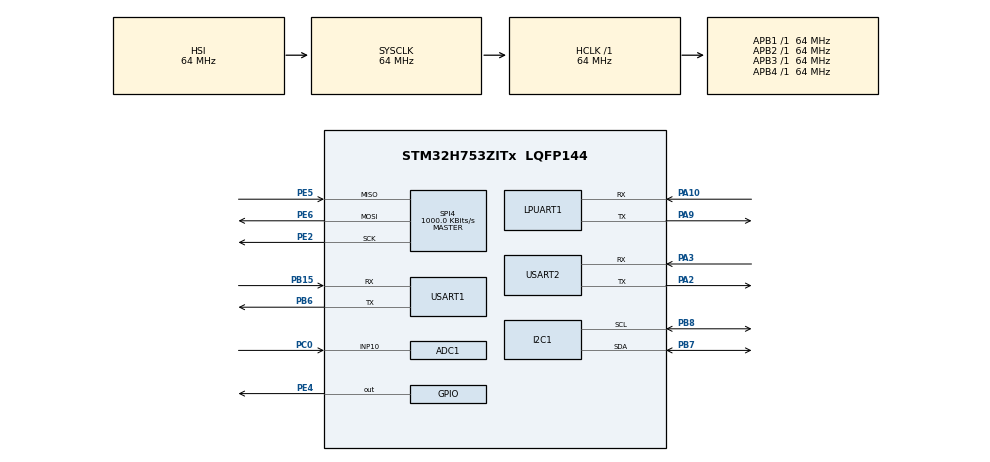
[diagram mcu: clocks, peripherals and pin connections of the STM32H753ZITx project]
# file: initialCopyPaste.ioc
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ADC1.Channel-1\#ChannelRegularConversion=ADC_CHANNEL_10
ADC1.ContinuousConvMode=ENABLE
ADC1.ConversionDataManagement=ADC_CONVERSIONDATA_DMA_CIRCULAR
ADC1.NbrOfConversion=1
ADC1.NbrOfConversionFlag=1
ADC1.OffsetNumber-1\#ChannelRegularConversion=ADC_OFFSET_NONE
ADC1.OffsetSignedSaturation-1\#ChannelRegularConversion=DISABLE
ADC1.Rank-1\#ChannelRegularConversion=1
ADC1.SamplingTime-1\#ChannelRegularConversion=ADC_SAMPLETIME_1CYCLE_5
ADC1.master=1
CORTEX_M7.CPU_DCache=Disabled
CORTEX_M7.CPU_ICache=Disabled
CORTEX_M7.MPU_Control=MPU_PRIVILEGED_DEFAULT
CORTEX_M7.default_mode_Activation=1
Dma.ADC1.0.Direction=DMA_PERIPH_TO_MEMORY
Dma.ADC1.0.EventEnable=DISABLE
Dma.ADC1.0.FIFOMode=DMA_FIFOMODE_DISABLE
Dma.ADC1.0.Instance=DMA2_Stream0
Dma.ADC1.0.MemDataAlignment=DMA_MDATAALIGN_HALFWORD
Dma.ADC1.0.MemInc=DMA_MINC_ENABLE
Dma.ADC1.0.Mode=DMA_CIRCULAR
Dma.ADC1.0.PeriphDataAlignment=DMA_PDATAALIGN_HALFWORD
Dma.ADC1.0.PeriphInc=DMA_PINC_DISABLE
Dma.ADC1.0.Polarity=HAL_DMAMUX_REQ_GEN_RISING
Dma.ADC1.0.Priority=DMA_PRIORITY_MEDIUM
Dma.ADC1.0.RequestNumber=1
Dma.ADC1.0.SignalID=NONE
Dma.ADC1.0.SyncEnable=DISABLE
Dma.ADC1.0.SyncPolarity=HAL_DMAMUX_SYNC_NO_EVENT
Dma.ADC1.0.SyncRequestNumber=1
Dma.ADC1.0.SyncSignalID=NONE
Dma.Request0=ADC1
Dma.Request1=USART1_TX
Dma.USART1_TX.1.Direction=DMA_MEMORY_TO_PERIPH
Dma.USART1_TX.1.EventEnable=DISABLE
Dma.USART1_TX.1.FIFOMode=DMA_FIFOMODE_DISABLE
Dma.USART1_TX.1.Instance=DMA1_Stream1
Dma.USART1_TX.1.MemDataAlignment=DMA_MDATAALIGN_BYTE
Dma.USART1_TX.1.MemInc=DMA_MINC_ENABLE
Dma.USART1_TX.1.Mode=DMA_NORMAL
Dma.USART1_TX.1.PeriphDataAlignment=DMA_PDATAALIGN_BYTE
Dma.USART1_TX.1.PeriphInc=DMA_PINC_DISABLE
Dma.USART1_TX.1.Polarity=HAL_DMAMUX_REQ_GEN_RISING
Dma.USART1_TX.1.Priority=DMA_PRIORITY_LOW
Dma.USART1_TX.1.RequestNumber=1
Dma.USART1_TX.1.SignalID=NONE
Dma.USART1_TX.1.SyncEnable=DISABLE
Dma.USART1_TX.1.SyncPolarity=HAL_DMAMUX_SYNC_NO_EVENT
Dma.USART1_TX.1.SyncRequestNumber=1
Dma.USART1_TX.1.SyncSignalID=NONE
Mcu.Family=STM32H7
Mcu.Name=STM32H753ZITx
Mcu.Package=LQFP144
NUCLEO-H753ZI.BUTTON=1
NUCLEO-H753ZI.Bsp_Common_DEMO=true
NUCLEO-H753ZI.LD1=true
NUCLEO-H753ZI.LD2=true
NUCLEO-H753ZI.LD3=true
NUCLEO-H753ZI.VCP=true
NVIC.DMA1_Stream1_IRQn=true\:0\:0\:false\:false\:true\:false\:true\:true
NVIC.DMA2_Stream0_IRQn=true\:0\:0\:false\:false\:true\:false\:true\:true
NVIC.EXTI15_10_IRQn=true\:0\:0\:false\:false\:true\:false\:true\:true
NVIC.PriorityGroup=NVIC_PRIORITYGROUP_4
PA0.Signal=USART2_CTS
PA1.Signal=USART2_RTS
PA10.Mode=Asynchronous
PA10.Signal=LPUART1_RX
PA2.Mode=Asynchronous
PA2.Signal=USART2_TX
PA3.Mode=Asynchronous
PA3.Signal=USART2_RX
PA9.Mode=Asynchronous
PA9.Signal=LPUART1_TX
PB15.Mode=Asynchronous
PB15.Signal=USART1_RX
PB5.Signal=I2C1_SMBA
PB6.Mode=Asynchronous
PB6.Signal=USART1_TX
PB7.Mode=I2C
PB7.Signal=I2C1_SDA
PB8.Mode=I2C
PB8.Signal=I2C1_SCL
PC0.Signal=ADCx_INP10
PC14-OSC32_IN\ (OSC32_IN).Mode=LSE-External-Oscillator
PC14-OSC32_IN\ (OSC32_IN).Signal=RCC_OSC32_IN
PC15-OSC32_OUT\ (OSC32_OUT).Mode=LSE-External-Oscillator
PC15-OSC32_OUT\ (OSC32_OUT).Signal=RCC_OSC32_OUT
PD8.Signal=USART3_TX
PD9.Signal=USART3_RX
PE2.Mode=Full_Duplex_Master
PE2.Signal=SPI4_SCK
PE4.Signal=GPIO_Output
PE5.Mode=Full_Duplex_Master
PE5.Signal=SPI4_MISO
PE6.Mode=Full_Duplex_Master
PE6.Signal=SPI4_MOSI
PH0-OSC_IN\ (PH0).Mode=HSE-External-Oscillator
PH0-OSC_IN\ (PH0).Signal=RCC_OSC_IN
PH1-OSC_OUT\ (PH1).Mode=HSE-External-Oscillator
PH1-OSC_OUT\ (PH1).Signal=RCC_OSC_OUT
ProjectManager.HeapSize=0x200
ProjectManager.StackSize=0x400
ProjectManager.TargetToolchain=CMake
RCC.ADCFreq_Value=80000000
RCC.APB1Freq_Value=64000000
RCC.APB2Freq_Value=64000000
RCC.APB3Freq_Value=64000000
RCC.APB4Freq_Value=64000000
RCC.CortexFreq_Value=64000000
RCC.DIVM1=4
RCC.DIVM2=4
RCC.DIVN1=9
RCC.DIVN2=10
RCC.DIVQ1=1
RCC.HCLKFreq_Value=64000000
RCC.HSE_VALUE=8000000
RCC.PLL2FRACN=0
RCC.PLLFRACN=3072
RCC.PWR_Regulator_Voltage_Scale=PWR_REGULATOR_VOLTAGE_SCALE2
RCC.SYSCLKFreq_VALUE=64000000
RCC.USBFreq_Value=150000000
SH.ADCx_INP10.0=ADC1_INP10,IN10-Single-Ended
SPI4.BaudRatePrescaler=SPI_BAUDRATEPRESCALER_64
SPI4.CalculateBaudRate=1000.0 KBits/s
SPI4.DataSize=SPI_DATASIZE_8BIT
SPI4.Direction=SPI_DIRECTION_2LINES
SPI4.Mode=SPI_MODE_MASTER
SPI4.VirtualType=VM_MASTER
USART1.VirtualMode-Asynchronous=VM_ASYNC
USART2.VirtualMode-Asynchronous=VM_ASYNC
VP_MEMORYMAP_VS_MEMORYMAP.Mode=CurAppReg
VP_NUCLEO-H753ZI_VS_BSP_COMMON.Mode=COMMON
board=NUCLEO-H753ZI

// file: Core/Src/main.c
/* USER CODE BEGIN Header */
/**
 ******************************************************************************
 * @file           : main.c
 * @brief          : Main program body
 ******************************************************************************
 * @attention
 *
 * Copyright (c) 2026 STMicroelectronics.
 * All rights reserved.
 *
 * This software is licensed under terms that can be found in the LICENSE file
 * in the root directory of this software component.
 * If no LICENSE file comes with this software, it is provided AS-IS.
 *
 ******************************************************************************
 */
/* USER CODE END Header */
#include "main.h"

/* USER CODE BEGIN Includes */
#include <inttypes.h>
#include <stdio.h>
#include <string.h>

char msg[] = "ahhhhhhh filled up bufffer\r\n";
/* USER CODE END Includes */

/* USER CODE BEGIN PD */
#define ADC_BUF_LEN 4096
/* USER CODE END PD */

COM_InitTypeDef BspCOMInit;
__IO uint32_t BspButtonState = BUTTON_RELEASED;
ADC_HandleTypeDef hadc1;
DMA_HandleTypeDef hdma_adc1;

I2C_HandleTypeDef hi2c1;

UART_HandleTypeDef hlpuart1;
UART_HandleTypeDef huart1;
UART_HandleTypeDef huart2;
DMA_HandleTypeDef hdma_usart1_tx;

SPI_HandleTypeDef hspi4;

/* USER CODE BEGIN PV */
uint16_t adc_buf[ADC_BUF_LEN];

// mt25q
const uint8_t MT25_READ = 0x13;
const uint8_t MT25_WRITE = 0x12;
const uint8_t MT25_WRITE_DISABLE = 0x04;
const uint8_t MT25_WRITE_ENABLE = 0x06;
const uint8_t MT25_READ_STATUS_REGISTER = 0x05;
const uint8_t MT25_WROTE_STATUS_REGISTER = 0x01;

/* USER CODE END PV */

void SystemClock_Config(void);
static void MPU_Config(void);
static void MX_GPIO_Init(void);
static void MX_DMA_Init(void);
static void MX_I2C1_Init(void);
static void MX_LPUART1_UART_Init(void);
static void MX_USART2_UART_Init(void);
static void MX_ADC1_Init(void);
static void MX_SPI4_Init(void);
static void MX_USART1_UART_Init(void);
/* USER CODE BEGIN PFP */
void DMATransferComplete(DMA_HandleTypeDef *dma);
/* USER CODE END PFP */

int main(void) {

  /* MPU Configuration--------------------------------------------------------*/
  MPU_Config();

  /* MCU Configuration--------------------------------------------------------*/

  /* Reset of all peripherals, Initializes the Flash interface and the Systick.
   */
  HAL_Init();

  /* Configure the system clock */
  SystemClock_Config();

  /* Initialize all configured peripherals */
  MX_GPIO_Init();
  MX_DMA_Init();
  MX_I2C1_Init();
  MX_LPUART1_UART_Init();
  MX_USART2_UART_Init();
  MX_ADC1_Init();
  MX_SPI4_Init();
  MX_USART1_UART_Init();
  /* USER CODE BEGIN 2 */

  //   HAL_DMA_RegisterCallback(&hdma_usart2_tx, HAL_DMA_XFER_CPLT_CB_ID,
  //                            &DMATransferComplete);
  HAL_ADC_Start_DMA(&hadc1, (uint32_t *)adc_buf, ADC_BUF_LEN);

  /* USER CODE END 2 */

  /* Initialize leds */
  BSP_LED_Init(LED_GREEN);
  BSP_LED_Init(LED_YELLOW);
  BSP_LED_Init(LED_RED);

  /* Initialize USER push-button, will be used to trigger an interrupt each time
   * it's pressed.*/
  BSP_PB_Init(BUTTON_USER, BUTTON_MODE_EXTI);

  /* Initialize COM1 port (115200, 8 bits (7-bit data + 1 stop bit), no parity
   */
  BspCOMInit.BaudRate = 115200;
  BspCOMInit.WordLength = COM_WORDLENGTH_8B;
  BspCOMInit.StopBits = COM_STOPBITS_1;
  BspCOMInit.Parity = COM_PARITY_NONE;
  BspCOMInit.HwFlowCtl = COM_HWCONTROL_NONE;
  if (BSP_COM_Init(COM1, &BspCOMInit) != BSP_ERROR_NONE) {
    Error_Handler();
  }

  /* USER CODE BEGIN BSP */

  HAL_GPIO_WritePin(GPIOE, GPIO_PIN_4, GPIO_PIN_SET);
  /* -- Sample board code to send message over COM1 port ---- */
  printf("Welcome to STM32 world !\r\n");

  /* -- Sample board code to switch on leds ---- */
  BSP_LED_On(LED_GREEN);
  BSP_LED_On(LED_YELLOW);
  BSP_LED_On(LED_RED);

  /* USER CODE END BSP */

  /* Infinite loop */
  /* USER CODE BEGIN WHILE */

  // To implement
  //   int8_t spi_status;
  uint8_t buf[64];
  char spi_buf[64];
  HAL_GPIO_WritePin(GPIOE, GPIO_PIN_4, GPIO_PIN_RESET);
  HAL_SPI_Transmit(&hspi4, (uint8_t *)&MT25_WRITE_ENABLE, 1, 1000);
  HAL_GPIO_WritePin(GPIOE, GPIO_PIN_4, GPIO_PIN_SET);

  HAL_GPIO_WritePin(GPIOE, GPIO_PIN_4, GPIO_PIN_RESET);
  // renode seems to get upset when using multiple transmits after another
  // which is why more things are bunched together into one liners
  // HAL_SPI_Transmit(&hspi4, (uint8_t *)&MT25_READ_STATUS_REGISTER, 1, 1000);
  // HAL_SPI_Receive(&hspi4, (uint8_t *)spi_buf, 1, 1000);
  HAL_SPI_TransmitReceive(&hspi4, (uint8_t *)&MT25_READ_STATUS_REGISTER,
                          (uint8_t *)spi_buf, 2, 1000);
  HAL_GPIO_WritePin(GPIOE, GPIO_PIN_4, GPIO_PIN_SET);
  sprintf((char *)buf, "spi status 0x%x\r\n", (unsigned int)spi_buf[1]);
  HAL_UART_Transmit(&huart2, buf, strlen((char *)buf), HAL_MAX_DELAY);

  // strcpy((char *)buf, "Hello!\r\n");

  //   uint8_t addr[4] = {0x00, 0x00, 0x00, 0x05};
  uint8_t wip = 1;
  spi_buf[5] = 0xAB;
  spi_buf[6] = 0xCD;
  spi_buf[7] = 0xEF;

  sprintf((char *)buf, "spibuf before example 0x%x 0x%x 0x%x\r\n",
          (unsigned int)spi_buf[5], (unsigned int)spi_buf[6],
          (unsigned int)spi_buf[7]);
  HAL_UART_Transmit(&huart2, buf, strlen((char *)buf), HAL_MAX_DELAY);

  HAL_GPIO_WritePin(GPIOE, GPIO_PIN_4, GPIO_PIN_RESET);
  //   HAL_SPI_Transmit(&hspi4, (uint8_t *)&MT25_WRITE, 1, 1000);
  //   HAL_SPI_Transmit(&hspi4, (uint8_t *)addr, 4, 1000);
  //   HAL_SPI_Transmit(&hspi4, (uint8_t *)spi_buf, 3, 1000);
  uint8_t write_message[] = {MT25_WRITE, 0x00,       0x00,       0x00,
                             0x05,       spi_buf[5], spi_buf[6], spi_buf[7]};
  HAL_SPI_Transmit(&hspi4, write_message, 8, 1000);
  HAL_GPIO_WritePin(GPIOE, GPIO_PIN_4, GPIO_PIN_SET);

  spi_buf[5] = 0x00;
  spi_buf[6] = 0x00;
  spi_buf[7] = 0x00;

  sprintf((char *)buf, "spibuf cleared 0x%x 0x%x 0x%x\r\n",
          (unsigned int)spi_buf[5], (unsigned int)spi_buf[6],
          (unsigned int)spi_buf[7]);
  HAL_UART_Transmit(&huart2, buf, strlen((char *)buf), HAL_MAX_DELAY);

  while (wip) {
    HAL_GPIO_WritePin(GPIOE, GPIO_PIN_4, GPIO_PIN_RESET);
    // HAL_SPI_Transmit(&hspi4, (uint8_t *)&MT25_READ_STATUS_REGISTER, 1, 1000);
    // HAL_SPI_Receive(&hspi4, (uint8_t *)spi_buf, 1, 1000);
    HAL_SPI_TransmitReceive(&hspi4, (uint8_t *)&MT25_READ_STATUS_REGISTER,
                            (uint8_t *)spi_buf, 2, 1000);
    HAL_GPIO_WritePin(GPIOE, GPIO_PIN_4, GPIO_PIN_SET);

    wip = spi_buf[1] & 0x01;
  }

  HAL_GPIO_WritePin(GPIOE, GPIO_PIN_4, GPIO_PIN_RESET);
  //   HAL_SPI_Transmit(&hspi4, (uint8_t *)&MT25_READ, 1, 1000);
  //   HAL_SPI_Transmit(&hspi4, (uint8_t *)addr, 4, 1000);
  //   HAL_SPI_Receive(&hspi4, (uint8_t *)spi_buf, 3, 1000);
  uint8_t read_message[] = {MT25_READ, 0x00, 0x00, 0x00, 0x05};
  HAL_SPI_TransmitReceive(&hspi4, read_message, (uint8_t *)spi_buf, 8, 1000);
  HAL_GPIO_WritePin(GPIOE, GPIO_PIN_4, GPIO_PIN_SET);
  sprintf((char *)buf, "spibuf after example 0x%x 0x%x 0x%x\r\n",
          (unsigned int)spi_buf[5], (unsigned int)spi_buf[6],
          (unsigned int)spi_buf[7]);
  HAL_UART_Transmit(&huart2, buf, strlen((char *)buf), HAL_MAX_DELAY);

  HAL_GPIO_WritePin(GPIOE, GPIO_PIN_4, GPIO_PIN_RESET);
  //   HAL_SPI_Transmit(&hspi4, (uint8_t *)&MT25_READ_STATUS_REGISTER, 1, 1000);
  //   HAL_SPI_Receive(&hspi4, (uint8_t *)spi_buf, 1, 1000);
  HAL_SPI_TransmitReceive(&hspi4, (uint8_t *)&MT25_READ_STATUS_REGISTER,
                          (uint8_t *)spi_buf, 2, 1000);
  HAL_GPIO_WritePin(GPIOE, GPIO_PIN_4, GPIO_PIN_SET);
  sprintf((char *)buf, "spi clear status 0x%x\r\n", spi_buf[1]);
  HAL_UART_Transmit(&huart2, buf, strlen((char *)buf), HAL_MAX_DELAY);

  static const uint8_t TMP103_ADDR = 0x70 << 1;
  static const uint8_t TEMP_REG = 0x00;
  // HAL_StatusTypeDef ret_status;
  // int16_t ret_val;

  while (1) {
    buf[0] = TEMP_REG;

    huart2.Instance->CR3 |= USART_CR3_DMAT;

    // PROBABLY CHECK STATUS v
    if (HAL_I2C_Mem_Read(&hi2c1, TMP103_ADDR, TEMP_REG, I2C_MEMADD_SIZE_8BIT,
                         buf, 1, 1000) != HAL_OK) {
      strcpy((char *)buf, "Error Tx\r\n");
      HAL_UART_Transmit(&huart2, buf, strlen((char *)buf), HAL_MAX_DELAY);
      continue;
    } else {
      int8_t ret_val;
      ret_val = (int8_t)buf[0];
      //   HAL_UART_Transmit(&huart2, buf, strlen((char *)buf), HAL_MAX_DELAY);
      sprintf((char *)buf, "%i C\r\n", ret_val);
      HAL_UART_Transmit(&huart2, buf, strlen((char *)buf), HAL_MAX_DELAY);
    }

    /* -- Sample board code for User push-button in interrupt mode ---- */
    if (BspButtonState == BUTTON_PRESSED) {
      /* Update button state */
      BspButtonState = BUTTON_RELEASED;
      /* -- Sample board code to toggle leds ---- */
      BSP_LED_Toggle(LED_GREEN);
      BSP_LED_Toggle(LED_YELLOW);
      BSP_LED_Toggle(LED_RED);

      /* ..... Perform your action ..... */
    }

    // HAL_GPIO_WritePin(GPIOC, GPIO_PIN_0, GPIO_PIN_SET);
    // HAL_ADC_Start(&hadc1);
    // HAL_ADC_PollForConversion(&hadc1, HAL_MAX_DELAY);
    // int32_t raw = HAL_ADC_GetValue(&hadc1);
    // HAL_GPIO_WritePin(GPIOC, GPIO_PIN_0, GPIO_PIN_RESET);
    uint16_t raw = adc_buf[0];
    // sprintf((char *)buf, "%" PRIu16 " V\r\n", raw);
    uint32_t convert = ((uint32_t)raw * 3300) / 65536;
    sprintf((char *)buf,
            "%" PRIu32 "."
            "%03" PRIu32 " V\r\n",
            convert / 1000, convert % 1000);
    HAL_UART_Transmit(&huart2, buf, strlen((char *)buf), HAL_MAX_DELAY);

    /* USER CODE END WHILE */

    /* USER CODE BEGIN 3 */
    HAL_Delay(6700);
  }
  /* USER CODE END 3 */
}

void SystemClock_Config(void) {
  RCC_OscInitTypeDef RCC_OscInitStruct = {0};
  RCC_ClkInitTypeDef RCC_ClkInitStruct = {0};

  /** Supply configuration update enable
   */
  HAL_PWREx_ConfigSupply(PWR_LDO_SUPPLY);

  /** Configure the main internal regulator output voltage
   */
  __HAL_PWR_VOLTAGESCALING_CONFIG(PWR_REGULATOR_VOLTAGE_SCALE2);

  while (!__HAL_PWR_GET_FLAG(PWR_FLAG_VOSRDY)) {
  }

  /** Macro to configure the PLL clock source
   */
  __HAL_RCC_PLL_PLLSOURCE_CONFIG(RCC_PLLSOURCE_HSI);

  /** Initializes the RCC Oscillators according to the specified parameters
   * in the RCC_OscInitTypeDef structure.
   */
  RCC_OscInitStruct.OscillatorType = RCC_OSCILLATORTYPE_HSI;
  RCC_OscInitStruct.HSIState = RCC_HSI_DIV1;
  RCC_OscInitStruct.HSICalibrationValue = RCC_HSICALIBRATION_DEFAULT;
  RCC_OscInitStruct.PLL.PLLState = RCC_PLL_NONE;
  if (HAL_RCC_OscConfig(&RCC_OscInitStruct) != HAL_OK) {
    Error_Handler();
  }

  /** Initializes the CPU, AHB and APB buses clocks
   */
  RCC_ClkInitStruct.ClockType = RCC_CLOCKTYPE_HCLK | RCC_CLOCKTYPE_SYSCLK |
                                RCC_CLOCKTYPE_PCLK1 | RCC_CLOCKTYPE_PCLK2 |
                                RCC_CLOCKTYPE_D3PCLK1 | RCC_CLOCKTYPE_D1PCLK1;
  RCC_ClkInitStruct.SYSCLKSource = RCC_SYSCLKSOURCE_HSI;
  RCC_ClkInitStruct.SYSCLKDivider = RCC_SYSCLK_DIV1;
  RCC_ClkInitStruct.AHBCLKDivider = RCC_HCLK_DIV1;
  RCC_ClkInitStruct.APB3CLKDivider = RCC_APB3_DIV1;
  RCC_ClkInitStruct.APB1CLKDivider = RCC_APB1_DIV1;
  RCC_ClkInitStruct.APB2CLKDivider = RCC_APB2_DIV1;
  RCC_ClkInitStruct.APB4CLKDivider = RCC_APB4_DIV1;

  if (HAL_RCC_ClockConfig(&RCC_ClkInitStruct, FLASH_LATENCY_1) != HAL_OK) {
    Error_Handler();
  }
}

static void MX_ADC1_Init(void) {

  ADC_MultiModeTypeDef multimode = {0};
  ADC_ChannelConfTypeDef sConfig = {0};

  /** Common config
   */
  hadc1.Instance = ADC1;
  hadc1.Init.ClockPrescaler = ADC_CLOCK_ASYNC_DIV2;
  hadc1.Init.Resolution = ADC_RESOLUTION_16B;
  hadc1.Init.ScanConvMode = ADC_SCAN_DISABLE;
  hadc1.Init.EOCSelection = ADC_EOC_SINGLE_CONV;
  hadc1.Init.LowPowerAutoWait = DISABLE;
  hadc1.Init.ContinuousConvMode = ENABLE;
  hadc1.Init.NbrOfConversion = 1;
  hadc1.Init.DiscontinuousConvMode = DISABLE;
  hadc1.Init.ExternalTrigConv = ADC_SOFTWARE_START;
  hadc1.Init.ExternalTrigConvEdge = ADC_EXTERNALTRIGCONVEDGE_NONE;
  hadc1.Init.ConversionDataManagement = ADC_CONVERSIONDATA_DMA_CIRCULAR;
  hadc1.Init.Overrun = ADC_OVR_DATA_PRESERVED;
  hadc1.Init.LeftBitShift = ADC_LEFTBITSHIFT_NONE;
  hadc1.Init.OversamplingMode = DISABLE;
  hadc1.Init.Oversampling.Ratio = 1;
  if (HAL_ADC_Init(&hadc1) != HAL_OK) {
    Error_Handler();
  }

  /** Configure the ADC multi-mode
   */
  multimode.Mode = ADC_MODE_INDEPENDENT;
  if (HAL_ADCEx_MultiModeConfigChannel(&hadc1, &multimode) != HAL_OK) {
    Error_Handler();
  }

  /** Configure Regular Channel
   */
  sConfig.Channel = ADC_CHANNEL_10;
  sConfig.Rank = ADC_REGULAR_RANK_1;
  sConfig.SamplingTime = ADC_SAMPLETIME_1CYCLE_5;
  sConfig.SingleDiff = ADC_SINGLE_ENDED;
  sConfig.OffsetNumber = ADC_OFFSET_NONE;
  sConfig.Offset = 0;
  sConfig.OffsetSignedSaturation = DISABLE;
  if (HAL_ADC_ConfigChannel(&hadc1, &sConfig) != HAL_OK) {
    Error_Handler();
  }
}

static void MX_I2C1_Init(void) {

  hi2c1.Instance = I2C1;
  hi2c1.Init.Timing = 0x10707DBC;
  hi2c1.Init.OwnAddress1 = 0;
  hi2c1.Init.AddressingMode = I2C_ADDRESSINGMODE_7BIT;
  hi2c1.Init.DualAddressMode = I2C_DUALADDRESS_DISABLE;
  hi2c1.Init.OwnAddress2 = 0;
  hi2c1.Init.OwnAddress2Masks = I2C_OA2_NOMASK;
  hi2c1.Init.GeneralCallMode = I2C_GENERALCALL_DISABLE;
  hi2c1.Init.NoStretchMode = I2C_NOSTRETCH_DISABLE;
  if (HAL_I2C_Init(&hi2c1) != HAL_OK) {
    Error_Handler();
  }

  /** Configure Analogue filter
   */
  if (HAL_I2CEx_ConfigAnalogFilter(&hi2c1, I2C_ANALOGFILTER_ENABLE) != HAL_OK) {
    Error_Handler();
  }

  /** Configure Digital filter
   */
  if (HAL_I2CEx_ConfigDigitalFilter(&hi2c1, 0) != HAL_OK) {
    Error_Handler();
  }
}

static void MX_LPUART1_UART_Init(void) {

  hlpuart1.Instance = LPUART1;
  hlpuart1.Init.BaudRate = 209700;
  hlpuart1.Init.WordLength = UART_WORDLENGTH_8B;
  hlpuart1.Init.StopBits = UART_STOPBITS_1;
  hlpuart1.Init.Parity = UART_PARITY_NONE;
  hlpuart1.Init.Mode = UART_MODE_TX_RX;
  hlpuart1.Init.HwFlowCtl = UART_HWCONTROL_NONE;
  hlpuart1.Init.OneBitSampling = UART_ONE_BIT_SAMPLE_DISABLE;
  hlpuart1.Init.ClockPrescaler = UART_PRESCALER_DIV1;
  hlpuart1.AdvancedInit.AdvFeatureInit = UART_ADVFEATURE_NO_INIT;
  hlpuart1.FifoMode = UART_FIFOMODE_DISABLE;
  if (HAL_UART_Init(&hlpuart1) != HAL_OK) {
    Error_Handler();
  }
  if (HAL_UARTEx_SetTxFifoThreshold(&hlpuart1, UART_TXFIFO_THRESHOLD_1_8) !=
      HAL_OK) {
    Error_Handler();
  }
  if (HAL_UARTEx_SetRxFifoThreshold(&hlpuart1, UART_RXFIFO_THRESHOLD_1_8) !=
      HAL_OK) {
    Error_Handler();
  }
  if (HAL_UARTEx_DisableFifoMode(&hlpuart1) != HAL_OK) {
    Error_Handler();
  }
}

static void MX_USART1_UART_Init(void) {

  huart1.Instance = USART1;
  huart1.Init.BaudRate = 115200;
  huart1.Init.WordLength = UART_WORDLENGTH_8B;
  huart1.Init.StopBits = UART_STOPBITS_1;
  huart1.Init.Parity = UART_PARITY_NONE;
  huart1.Init.Mode = UART_MODE_TX_RX;
  huart1.Init.HwFlowCtl = UART_HWCONTROL_NONE;
  huart1.Init.OverSampling = UART_OVERSAMPLING_16;
  huart1.Init.OneBitSampling = UART_ONE_BIT_SAMPLE_DISABLE;
  huart1.Init.ClockPrescaler = UART_PRESCALER_DIV1;
  huart1.AdvancedInit.AdvFeatureInit = UART_ADVFEATURE_NO_INIT;
  if (HAL_UART_Init(&huart1) != HAL_OK) {
    Error_Handler();
  }
  if (HAL_UARTEx_SetTxFifoThreshold(&huart1, UART_TXFIFO_THRESHOLD_1_8) !=
      HAL_OK) {
    Error_Handler();
  }
  if (HAL_UARTEx_SetRxFifoThreshold(&huart1, UART_RXFIFO_THRESHOLD_1_8) !=
      HAL_OK) {
    Error_Handler();
  }
  if (HAL_UARTEx_DisableFifoMode(&huart1) != HAL_OK) {
    Error_Handler();
  }
}

static void MX_USART2_UART_Init(void) {

  huart2.Instance = USART2;
  huart2.Init.BaudRate = 115200;
  huart2.Init.WordLength = UART_WORDLENGTH_8B;
  huart2.Init.StopBits = UART_STOPBITS_1;
  huart2.Init.Parity = UART_PARITY_NONE;
  huart2.Init.Mode = UART_MODE_TX_RX;
  huart2.Init.HwFlowCtl = UART_HWCONTROL_NONE;
  huart2.Init.OverSampling = UART_OVERSAMPLING_16;
  huart2.Init.OneBitSampling = UART_ONE_BIT_SAMPLE_DISABLE;
  huart2.Init.ClockPrescaler = UART_PRESCALER_DIV1;
  huart2.AdvancedInit.AdvFeatureInit = UART_ADVFEATURE_NO_INIT;
  if (HAL_UART_Init(&huart2) != HAL_OK) {
    Error_Handler();
  }
  if (HAL_UARTEx_SetTxFifoThreshold(&huart2, UART_TXFIFO_THRESHOLD_1_8) !=
      HAL_OK) {
    Error_Handler();
  }
  if (HAL_UARTEx_SetRxFifoThreshold(&huart2, UART_RXFIFO_THRESHOLD_1_8) !=
      HAL_OK) {
    Error_Handler();
  }
  if (HAL_UARTEx_DisableFifoMode(&huart2) != HAL_OK) {
    Error_Handler();
  }
}

static void MX_SPI4_Init(void) {

  /* SPI4 parameter configuration*/
  hspi4.Instance = SPI4;
  hspi4.Init.Mode = SPI_MODE_MASTER;
  hspi4.Init.Direction = SPI_DIRECTION_2LINES;
  hspi4.Init.DataSize = SPI_DATASIZE_8BIT;
  hspi4.Init.CLKPolarity = SPI_POLARITY_LOW;
  hspi4.Init.CLKPhase = SPI_PHASE_1EDGE;
  hspi4.Init.NSS = SPI_NSS_SOFT;
  hspi4.Init.BaudRatePrescaler = SPI_BAUDRATEPRESCALER_64;
  hspi4.Init.FirstBit = SPI_FIRSTBIT_MSB;
  hspi4.Init.TIMode = SPI_TIMODE_DISABLE;
  hspi4.Init.CRCCalculation = SPI_CRCCALCULATION_DISABLE;
  hspi4.Init.CRCPolynomial = 0x0;
  hspi4.Init.NSSPMode = SPI_NSS_PULSE_ENABLE;
  hspi4.Init.NSSPolarity = SPI_NSS_POLARITY_LOW;
  hspi4.Init.FifoThreshold = SPI_FIFO_THRESHOLD_01DATA;
  hspi4.Init.TxCRCInitializationPattern =
      SPI_CRC_INITIALIZATION_ALL_ZERO_PATTERN;
  hspi4.Init.RxCRCInitializationPattern =
      SPI_CRC_INITIALIZATION_ALL_ZERO_PATTERN;
  hspi4.Init.MasterSSIdleness = SPI_MASTER_SS_IDLENESS_00CYCLE;
  hspi4.Init.MasterInterDataIdleness = SPI_MASTER_INTERDATA_IDLENESS_00CYCLE;
  hspi4.Init.MasterReceiverAutoSusp = SPI_MASTER_RX_AUTOSUSP_DISABLE;
  hspi4.Init.MasterKeepIOState = SPI_MASTER_KEEP_IO_STATE_DISABLE;
  hspi4.Init.IOSwap = SPI_IO_SWAP_DISABLE;
  if (HAL_SPI_Init(&hspi4) != HAL_OK) {
    Error_Handler();
  }
}

static void MX_DMA_Init(void) {

  /* DMA controller clock enable */
  __HAL_RCC_DMA2_CLK_ENABLE();
  __HAL_RCC_DMA1_CLK_ENABLE();

  /* DMA interrupt init */
  /* DMA1_Stream1_IRQn interrupt configuration */
  HAL_NVIC_SetPriority(DMA1_Stream1_IRQn, 0, 0);
  HAL_NVIC_EnableIRQ(DMA1_Stream1_IRQn);
  /* DMA2_Stream0_IRQn interrupt configuration */
  HAL_NVIC_SetPriority(DMA2_Stream0_IRQn, 0, 0);
  HAL_NVIC_EnableIRQ(DMA2_Stream0_IRQn);
}

static void MX_GPIO_Init(void) {
  GPIO_InitTypeDef GPIO_InitStruct = {0};

  /* GPIO Ports Clock Enable */
  __HAL_RCC_GPIOE_CLK_ENABLE();
  __HAL_RCC_GPIOC_CLK_ENABLE();
  __HAL_RCC_GPIOH_CLK_ENABLE();
  __HAL_RCC_GPIOA_CLK_ENABLE();
  __HAL_RCC_GPIOB_CLK_ENABLE();

  /*Configure GPIO pin Output Level */
  HAL_GPIO_WritePin(GPIOE, GPIO_PIN_4, GPIO_PIN_RESET);

  /*Configure GPIO pin : PE4 */
  GPIO_InitStruct.Pin = GPIO_PIN_4;
  GPIO_InitStruct.Mode = GPIO_MODE_OUTPUT_PP;
  GPIO_InitStruct.Pull = GPIO_NOPULL;
  GPIO_InitStruct.Speed = GPIO_SPEED_FREQ_LOW;
  HAL_GPIO_Init(GPIOE, &GPIO_InitStruct);

}

/* USER CODE BEGIN 4 */
void DMATransferComplete(DMA_HandleTypeDef *dma) {
  huart2.Instance->CR3 &= ~USART_CR3_DMAT;

  // BSP_LED_Toggle(LED_YELLOW);
  HAL_GPIO_TogglePin(GPIOB, GPIO_PIN_0);
}

void HAL_ADC_ConvHalfCpltCallback(ADC_HandleTypeDef *hadc) {
  // LED 1
  HAL_GPIO_WritePin(GPIOB, GPIO_PIN_0, GPIO_PIN_SET);
}

void HAL_ADC_ConvCpltCallback(ADC_HandleTypeDef *hadc) {
  // LED 1
  HAL_GPIO_WritePin(GPIOB, GPIO_PIN_0, GPIO_PIN_RESET);

  HAL_DMA_Start_IT(&hdma_usart1_tx, (uint32_t)msg,
                   (uint32_t)&huart1.Instance->TDR, strlen(msg));
}
/* USER CODE END 4 */

/* MPU Configuration */

void MPU_Config(void) {
  MPU_Region_InitTypeDef MPU_InitStruct = {0};

  /* Disables the MPU */
  HAL_MPU_Disable();

  /** Initializes and configures the Region and the memory to be protected
   */
  MPU_InitStruct.Enable = MPU_REGION_ENABLE;
  MPU_InitStruct.Number = MPU_REGION_NUMBER0;
  MPU_InitStruct.BaseAddress = 0x0;
  MPU_InitStruct.Size = MPU_REGION_SIZE_4GB;
  MPU_InitStruct.SubRegionDisable = 0x87;
  MPU_InitStruct.TypeExtField = MPU_TEX_LEVEL0;
  MPU_InitStruct.AccessPermission = MPU_REGION_NO_ACCESS;
  MPU_InitStruct.DisableExec = MPU_INSTRUCTION_ACCESS_DISABLE;
  MPU_InitStruct.IsShareable = MPU_ACCESS_SHAREABLE;
  MPU_InitStruct.IsCacheable = MPU_ACCESS_NOT_CACHEABLE;
  MPU_InitStruct.IsBufferable = MPU_ACCESS_NOT_BUFFERABLE;

  HAL_MPU_ConfigRegion(&MPU_InitStruct);
  /* Enables the MPU */
  HAL_MPU_Enable(MPU_PRIVILEGED_DEFAULT);
}

/**
 * @brief BSP Push Button callback
 * @param Button Specifies the pressed button
 * @retval None
 */
void BSP_PB_Callback(Button_TypeDef Button) {
  if (Button == BUTTON_USER) {
    BspButtonState = BUTTON_PRESSED;
  }
}

void Error_Handler(void) {
  /* USER CODE BEGIN Error_Handler_Debug */
  /* User can add his own implementation to report the HAL error return state
   */
  __disable_irq();
  while (1) {
  }
  /* USER CODE END Error_Handler_Debug */
}
#ifdef USE_FULL_ASSERT
/**
 * @brief  Reports the name of the source file and the source line number
 *         where the assert_param error has occurred.
 * @param  file: pointer to the source file name
 * @param  line: assert_param error line source number
 * @retval None
 */
void assert_failed(uint8_t *file, uint32_t line) {
  /* USER CODE BEGIN 6 */
  /* User can add his own implementation to report the file name and line
     number, ex: printf("Wrong parameters value: file %s on line %d\r\n",
     file, line) */
  /* USER CODE END 6 */
}
#endif /* USE_FULL_ASSERT */
